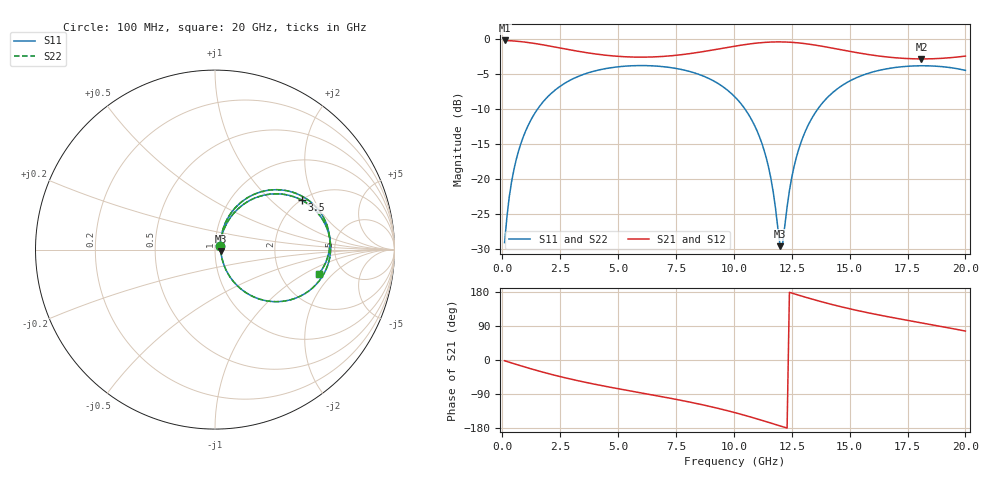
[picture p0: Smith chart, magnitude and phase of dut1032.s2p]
! Touchstone file exported from HFSS 2026.1.0
!  File:  C:/ffzhzh/LocalFiles/Ansys_Project_Files/temp_train_TSV_RDL_1032_1783294026_38820.aedt
!  Generated:  07:40:00 AM Jul  6, 2026
!  Design:  TSV_RDL
!  Project:  temp_train_TSV_RDL_1032_1783294026_38820
! Variables:
!  h_bsmrdl = 4.68um
!  h_ox = 20um
!  h_rdl = 5um
!  h_sub = 60.3um
!  h_tmrdl = 3.59um
!  h_tsv = 60.3um
!  h_via = 3um
!  l_bsmrdl = 481.57um
!  l_sub = 5001.89um
!  l_tmrdl = 764.26um
!  m_sub = 200um
!  pitch = 59.05um
!  r_tsv = 14.32um
!  s_tmrdl = 10um
!  w_bsmrdl = 18.37um
!  w_sub = 500um
!  w_tmrdl = 15.01um
!  x_tsv_center1 = 771.765um
!  x_tsv_center2 = 1271.705um
!  x_tsv_center3 = 2050.975um
!  x_tsv_center4 = 2550.915um
!  x_tsv_center5 = 3330.185um
!  x_tsv_center6 = 3830.125um
# GHz S MA R 50.000000
! Terminal data exported
! Port[1] = TM_RDL1_1_T1
! Port[2] = TM_RDL5_1_T1
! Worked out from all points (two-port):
!   200 points, 100 MHz to 20 GHz, reference 50 ohm
!   highest |S21| = -0.23 dB at 100 MHz (marker M1); lowest = -2.9 dB at 18.1 GHz (marker M2)
!   |S21| within 3 dB of the highest: start of sweep to end of sweep
!   lowest |S11| = -29.6 dB at 12 GHz (marker M3), VSWR 1.07, Z = 53.3 - j0.794 ohm
!   |S11| at or under -10 dB: start of sweep to 1.529 GHz; 10.48 GHz to 13.63 GHz (3.153 GHz wide, 26.2 % of centre)
!   |S22| runs from -29.7 to -3.8 dB; largest |S21 - S12| = 1.7e-14
!   S11 on the Smith chart (normalised r, x): 100 MHz: 1.05, +0.05; 3.5 GHz: 2.02, +1.61; 20 GHz: 3.32, -1.38
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0.1  0.03517 39.8  0.9735 -2.0  0.9735 -2.0  0.03517 39.8
! Gamma 0 0 0 0
! Port Impedance 50 0 50 0
0.3  0.07424 62.4  0.9701 -5.9  0.9701 -5.9  0.07424 62.4
0.5  0.1163 66.1  0.9651 -9.7  0.9651 -9.7  0.1163 66.1
1.1  0.2379 62.1  0.942 -20.8  0.942 -20.8  0.2379 62.1
2.1  0.4062 48.2  0.8848 -37.7  0.8848 -37.7  0.4062 48.2
3.5  0.557 29.6  0.8033 -57.7  0.8033 -57.7  0.557 29.6
5.1  0.634 11.3  0.7481 -76.9  0.7481 -76.9  0.634 11.3
6.8  0.6363 -6.8  0.7465 -95.8  0.7465 -95.8  0.6363 -6.8
8.7  0.5409 -28.7  0.8118 -118.9  0.8118 -118.9  0.5409 -28.7
10.1  0.377 -47.4  0.8895 -139.8  0.8895 -139.8  0.377 -47.5
10.8  0.2587 -56.9  0.9247 -151.7  0.9247 -151.7  0.2587 -56.9
11.3  0.1617 -61.4  0.9423 -160.8  0.9423 -160.8  0.1617 -61.6
11.7  0.081 -57.0  0.9497 -168.3  0.9497 -168.3  0.08087 -57.3
12  0.03318 -12.9  0.9509 -174.0  0.9509 -174.0  0.03279 -13.2
12.1  0.03375 22.9  0.9504 -175.9  0.9504 -175.9  0.03334 23.1
12.4  0.08246 64.5  0.9462 178.5  0.9462 178.5  0.08226 64.8
12.7  0.1427 68.9  0.9384 172.9  0.9384 172.9  0.1425 69.0
13.4  0.2767 62.9  0.9082 160.3  0.9082 160.3  0.2766 63.0
14.9  0.4896 42.9  0.8199 136.6  0.8199 136.6  0.4895 42.9
16.7  0.615 21.7  0.7396 113.7  0.7396 113.7  0.615 21.8
18.1  0.6424 7.1  0.7189 98.0  0.7189 98.0  0.6423 7.1
20  0.5956 -13.0  0.7533 76.3  0.7533 76.3  0.5956 -13.0
